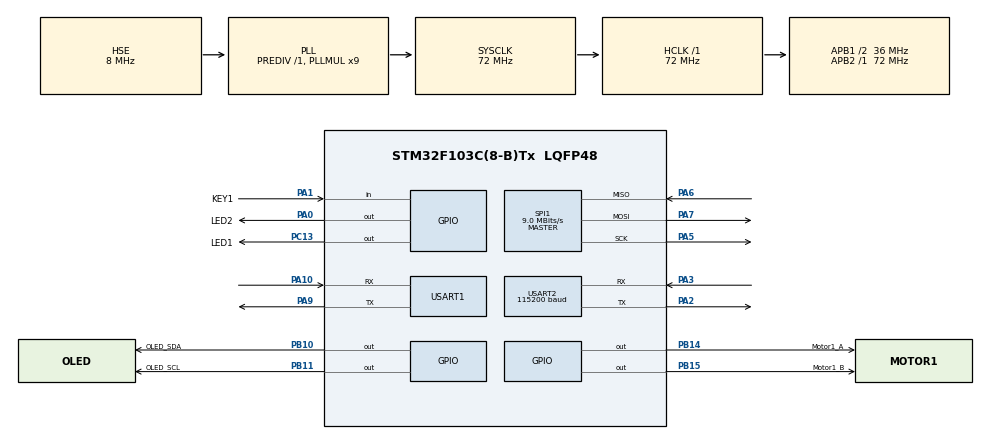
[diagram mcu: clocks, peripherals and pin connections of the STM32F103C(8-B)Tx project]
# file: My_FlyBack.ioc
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Dma.Request0=USART2_RX
Dma.Request1=USART2_TX
Dma.Request2=USART1_TX
Dma.Request3=SPI1_TX
Dma.SPI1_TX.3.Direction=DMA_MEMORY_TO_PERIPH
Dma.SPI1_TX.3.Instance=DMA1_Channel3
Dma.SPI1_TX.3.MemDataAlignment=DMA_MDATAALIGN_BYTE
Dma.SPI1_TX.3.MemInc=DMA_MINC_ENABLE
Dma.SPI1_TX.3.Mode=DMA_NORMAL
Dma.SPI1_TX.3.PeriphDataAlignment=DMA_PDATAALIGN_BYTE
Dma.SPI1_TX.3.PeriphInc=DMA_PINC_DISABLE
Dma.SPI1_TX.3.Priority=DMA_PRIORITY_VERY_HIGH
Dma.USART1_TX.2.Direction=DMA_MEMORY_TO_PERIPH
Dma.USART1_TX.2.Instance=DMA1_Channel4
Dma.USART1_TX.2.MemDataAlignment=DMA_MDATAALIGN_BYTE
Dma.USART1_TX.2.MemInc=DMA_MINC_ENABLE
Dma.USART1_TX.2.Mode=DMA_NORMAL
Dma.USART1_TX.2.PeriphDataAlignment=DMA_PDATAALIGN_BYTE
Dma.USART1_TX.2.PeriphInc=DMA_PINC_DISABLE
Dma.USART1_TX.2.Priority=DMA_PRIORITY_LOW
Dma.USART2_RX.0.Direction=DMA_PERIPH_TO_MEMORY
Dma.USART2_RX.0.Instance=DMA1_Channel6
Dma.USART2_RX.0.MemDataAlignment=DMA_MDATAALIGN_BYTE
Dma.USART2_RX.0.MemInc=DMA_MINC_ENABLE
Dma.USART2_RX.0.Mode=DMA_CIRCULAR
Dma.USART2_RX.0.PeriphDataAlignment=DMA_PDATAALIGN_BYTE
Dma.USART2_RX.0.PeriphInc=DMA_PINC_DISABLE
Dma.USART2_RX.0.Priority=DMA_PRIORITY_HIGH
Dma.USART2_TX.1.Direction=DMA_MEMORY_TO_PERIPH
Dma.USART2_TX.1.Instance=DMA1_Channel7
Dma.USART2_TX.1.MemDataAlignment=DMA_MDATAALIGN_BYTE
Dma.USART2_TX.1.MemInc=DMA_MINC_ENABLE
Dma.USART2_TX.1.Mode=DMA_NORMAL
Dma.USART2_TX.1.PeriphDataAlignment=DMA_PDATAALIGN_BYTE
Dma.USART2_TX.1.PeriphInc=DMA_PINC_DISABLE
Dma.USART2_TX.1.Priority=DMA_PRIORITY_LOW
FREERTOS.Tasks01=defaultTask,0,128,StartDefaultTask,Default,NULL,Dynamic,NULL,NULL;myTask02,-3,128,StartTask02,Default,NULL,Dynamic,NULL,NULL
Mcu.Family=STM32F1
Mcu.Name=STM32F103C(8-B)Tx
Mcu.Package=LQFP48
NVIC.DMA1_Channel3_IRQn=true\:5\:0\:false\:false\:true\:true\:false\:true\:true
NVIC.DMA1_Channel4_IRQn=true\:5\:0\:false\:false\:true\:true\:false\:true\:true
NVIC.DMA1_Channel6_IRQn=true\:5\:0\:false\:false\:true\:true\:false\:true\:true
NVIC.DMA1_Channel7_IRQn=true\:5\:0\:false\:false\:true\:true\:false\:true\:true
NVIC.PriorityGroup=NVIC_PRIORITYGROUP_4
NVIC.TIM2_IRQn=true\:6\:0\:true\:false\:true\:true\:true\:true\:true
NVIC.TIM3_IRQn=true\:7\:0\:true\:false\:true\:true\:true\:true\:true
NVIC.USART1_IRQn=true\:15\:0\:true\:false\:true\:true\:true\:true\:true
NVIC.USART2_IRQn=true\:5\:0\:false\:false\:true\:true\:true\:true\:true
PA0-WKUP.GPIO_Label=LED2
PA0-WKUP.GPIO_PuPd=GPIO_NOPULL
PA0-WKUP.GPIO_Speed=GPIO_SPEED_FREQ_HIGH
PA0-WKUP.PinState=GPIO_PIN_RESET
PA0-WKUP.Signal=GPIO_Output
PA1.GPIO_Label=KEY1
PA1.GPIO_PuPd=GPIO_PULLUP
PA1.Signal=GPIO_Input
PA10.Mode=Asynchronous
PA10.Signal=USART1_RX
PA13.Mode=Serial_Wire
PA13.Signal=SYS_JTMS-SWDIO
PA14.Mode=Serial_Wire
PA14.Signal=SYS_JTCK-SWCLK
PA2.Mode=Asynchronous
PA2.Signal=USART2_TX
PA3.Mode=Asynchronous
PA3.Signal=USART2_RX
PA5.Mode=Full_Duplex_Master
PA5.Signal=SPI1_SCK
PA6.Mode=Full_Duplex_Master
PA6.Signal=SPI1_MISO
PA7.Mode=Full_Duplex_Master
PA7.Signal=SPI1_MOSI
PA9.Mode=Asynchronous
PA9.Signal=USART1_TX
PB10.GPIO_Label=OLED_SDA
PB10.GPIO_ModeDefaultOutputPP=GPIO_MODE_OUTPUT_OD
PB10.GPIO_PuPd=GPIO_PULLUP
PB10.GPIO_Speed=GPIO_SPEED_FREQ_HIGH
PB10.PinState=GPIO_PIN_SET
PB10.Signal=GPIO_Output
PB11.GPIO_Label=OLED_SCL
PB11.GPIO_Speed=GPIO_SPEED_FREQ_HIGH
PB11.Signal=GPIO_Output
PB14.GPIO_Label=Motor1_A
PB14.Signal=GPIO_Output
PB15.GPIO_Label=Motor1_B
PB15.Signal=GPIO_Output
PC13-TAMPER-RTC.GPIO_Label=LED1
PC13-TAMPER-RTC.Signal=GPIO_Output
PD0-OSC_IN.Mode=HSE-External-Oscillator
PD0-OSC_IN.Signal=RCC_OSC_IN
PD1-OSC_OUT.Mode=HSE-External-Oscillator
PD1-OSC_OUT.Signal=RCC_OSC_OUT
ProjectManager.HeapSize=0x200
ProjectManager.StackSize=0x400
ProjectManager.TargetToolchain=SW4STM32
RCC.AHBFreq_Value=72000000
RCC.APB1CLKDivider=RCC_HCLK_DIV2
RCC.APB1Freq_Value=36000000
RCC.APB1TimFreq_Value=72000000
RCC.APB2Freq_Value=72000000
RCC.APB2TimFreq_Value=72000000
RCC.HCLKFreq_Value=72000000
RCC.PLLMUL=RCC_PLL_MUL9
RCC.PLLSourceVirtual=RCC_PLLSOURCE_HSE
RCC.SYSCLKFreq_VALUE=72000000
RCC.SYSCLKSource=RCC_SYSCLKSOURCE_PLLCLK
RCC.USBFreq_Value=72000000
SPI1.BaudRatePrescaler=SPI_BAUDRATEPRESCALER_8
SPI1.CRCCalculation=SPI_CRCCALCULATION_DISABLE
SPI1.CalculateBaudRate=9.0 MBits/s
SPI1.Direction=SPI_DIRECTION_2LINES
SPI1.Mode=SPI_MODE_MASTER
SPI1.VirtualType=VM_MASTER
TIM2.Period=1000 - 1
TIM2.Prescaler=720 - 1
TIM3.Period=100 - 1
TIM3.Prescaler=720 - 1
USART1.VirtualMode=VM_ASYNC
USART2.BaudRate=115200
USART2.VirtualMode=VM_ASYNC
VP_FREERTOS_VS_CMSIS_V1.Mode=CMSIS_V1
VP_TIM1_VS_ClockSourceINT.Mode=Internal
VP_TIM2_VS_ClockSourceINT.Mode=Internal
VP_TIM3_VS_ClockSourceINT.Mode=Internal
board=custom

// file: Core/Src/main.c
/* USER CODE BEGIN Header */
/**
  ******************************************************************************
  * @file           : main.c
  * @brief          : Main program body
  ******************************************************************************
  * @attention
  *
  * Copyright (c) 2023 STMicroelectronics.
  * All rights reserved.
  *
  * This software is licensed under terms that can be found in the LICENSE file
  * in the root directory of this software component.
  * If no LICENSE file comes with this software, it is provided AS-IS.
  *
  ******************************************************************************
  */
/* USER CODE END Header */
#include "main.h"
#include "cmsis_os.h"
#include "dma.h"
#include "spi.h"
#include "tim.h"
#include "usart.h"
#include "gpio.h"

/* USER CODE BEGIN Includes */
#include "string.h"
#include "retarget.h"
#include "Motor.h"
#include "Uart_RxPackage.h"
#include "OLED.h"
#include "Delay.h"
#include "LED_Ribbon.h"
#include "RGBColor.h"
#include "MyKey.h"
/* USER CODE END Includes */

void SystemClock_Config(void);
void MX_FREERTOS_Init(void);

/* USER CODE BEGIN 0 */
UartRx_Package Uart2_Package;
/* USER CODE END 0 */

int main(void)
{

  /* MCU Configuration--------------------------------------------------------*/

  /* Reset of all peripherals, Initializes the Flash interface and the Systick. */
  HAL_Init();

  /* USER CODE BEGIN Init */
    RetargetInit(&huart1); //重定向串口一
  /* USER CODE END Init */

  /* Configure the system clock */
  SystemClock_Config();

  /* Initialize all configured peripherals */
  MX_GPIO_Init();
  MX_DMA_Init();
  MX_TIM1_Init();
  MX_TIM2_Init();
  MX_TIM3_Init();
  MX_USART1_UART_Init();
  MX_USART2_UART_Init();
  MX_SPI1_Init();

  /* Call init function for freertos objects (in freertos.c) */
  MX_FREERTOS_Init();

  /* Start scheduler */
  osKernelStart();

  /* We should never get here as control is now taken by the scheduler */
  /* Infinite loop */
  while (1)
  {

    /* USER CODE BEGIN 3 */
//      LED_RibALLLight(0xFF, 0, 0);
//      Delay_ms(500);
//
//      LED_RibALLLight(0,0xFF,0);
//      Delay_ms(500);
//
//      LED_RibALLLight(0,0,0xFF);
//      Delay_ms(500);
//
//      LED_RibALLLight(VioletColor);
//      Delay_ms(500);
//
//      LED_RibALLLight(CyanColor);
//      Delay_ms(500);
//
//      LED_RibALLLight(IndigoColor);
//      Delay_ms(500);
//
//      LED_RibALLLight(DarkGreenColor);
//      Delay_ms(500);
//
//      LED_RibALLLight(KhakiColor);
//      Delay_ms(500);

  }
  /* USER CODE END 3 */
}

void SystemClock_Config(void)
{
  RCC_OscInitTypeDef RCC_OscInitStruct = {0};
  RCC_ClkInitTypeDef RCC_ClkInitStruct = {0};

  /** Initializes the RCC Oscillators according to the specified parameters
  * in the RCC_OscInitTypeDef structure.
  */
  RCC_OscInitStruct.OscillatorType = RCC_OSCILLATORTYPE_HSE;
  RCC_OscInitStruct.HSEState = RCC_HSE_ON;
  RCC_OscInitStruct.HSEPredivValue = RCC_HSE_PREDIV_DIV1;
  RCC_OscInitStruct.HSIState = RCC_HSI_ON;
  RCC_OscInitStruct.PLL.PLLState = RCC_PLL_ON;
  RCC_OscInitStruct.PLL.PLLSource = RCC_PLLSOURCE_HSE;
  RCC_OscInitStruct.PLL.PLLMUL = RCC_PLL_MUL9;
  if (HAL_RCC_OscConfig(&RCC_OscInitStruct) != HAL_OK)
  {
    Error_Handler();
  }

  /** Initializes the CPU, AHB and APB buses clocks
  */
  RCC_ClkInitStruct.ClockType = RCC_CLOCKTYPE_HCLK|RCC_CLOCKTYPE_SYSCLK
                              |RCC_CLOCKTYPE_PCLK1|RCC_CLOCKTYPE_PCLK2;
  RCC_ClkInitStruct.SYSCLKSource = RCC_SYSCLKSOURCE_PLLCLK;
  RCC_ClkInitStruct.AHBCLKDivider = RCC_SYSCLK_DIV1;
  RCC_ClkInitStruct.APB1CLKDivider = RCC_HCLK_DIV2;
  RCC_ClkInitStruct.APB2CLKDivider = RCC_HCLK_DIV1;

  if (HAL_RCC_ClockConfig(&RCC_ClkInitStruct, FLASH_LATENCY_2) != HAL_OK)
  {
    Error_Handler();
  }
}

void Error_Handler(void)
{
  __disable_irq();
  while (1)
  {
  }
}

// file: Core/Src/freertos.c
/* USER CODE BEGIN Header */
/**
  ******************************************************************************
  * File Name          : freertos.c
  * Description        : Code for freertos applications
  ******************************************************************************
  * @attention
  *
  * Copyright (c) 2024 STMicroelectronics.
  * All rights reserved.
  *
  * This software is licensed under terms that can be found in the LICENSE file
  * in the root directory of this software component.
  * If no LICENSE file comes with this software, it is provided AS-IS.
  *
  ******************************************************************************
  */
/* USER CODE END Header */

#include "FreeRTOS.h"
#include "task.h"
#include "main.h"
#include "cmsis_os.h"

/* USER CODE BEGIN Includes */
#include "string.h"
#include "retarget.h"
#include "Motor.h"
#include "Uart_RxPackage.h"
#include "OLED.h"
#include "Delay.h"
#include "LED_Ribbon.h"
#include "RGBColor.h"
#include "usart.h"
#include "MyKey.h"
#include "ESP32_MQTT.h"
/* USER CODE END Includes */

/* USER CODE BEGIN Variables */
uint8_t ESPSubscribeFlag = 0;
char  *JSONData = NULL;
int JSONLength = 0;

/* USER CODE END Variables */
osThreadId defaultTaskHandle;
osThreadId myTask02Handle;

void StartDefaultTask(void const * argument);
void StartTask02(void const * argument);

void MX_FREERTOS_Init(void); /* (MISRA C 2004 rule 8.1) */

/* GetIdleTaskMemory prototype (linked to static allocation support) */
void vApplicationGetIdleTaskMemory( StaticTask_t **ppxIdleTaskTCBBuffer, StackType_t **ppxIdleTaskStackBuffer, uint32_t *pulIdleTaskStackSize );

/* USER CODE BEGIN GET_IDLE_TASK_MEMORY */
static StaticTask_t xIdleTaskTCBBuffer;
static StackType_t xIdleStack[configMINIMAL_STACK_SIZE];

void vApplicationGetIdleTaskMemory( StaticTask_t **ppxIdleTaskTCBBuffer, StackType_t **ppxIdleTaskStackBuffer, uint32_t *pulIdleTaskStackSize )
{
  *ppxIdleTaskTCBBuffer = &xIdleTaskTCBBuffer;
  *ppxIdleTaskStackBuffer = &xIdleStack[0];
  *pulIdleTaskStackSize = configMINIMAL_STACK_SIZE;
  /* place for user code */
}
/* USER CODE END GET_IDLE_TASK_MEMORY */

void MX_FREERTOS_Init(void) {
  /* USER CODE BEGIN Init */
    HAL_TIM_Base_Start_IT(&htim2);
    HAL_TIM_Base_Start_IT(&htim3);
    Uart_RxPackage_Init(&Uart2_Package,&htim2,300,&huart2); //初始化串口接收数�??
    Uart_PackageStart(&Uart2_Package);
    OLED_Init();

    LED_RibInit();
    KeyInit();

    HAL_Delay(1000);
    ESPMQTT_Start();
    HAL_Delay(1000);

    if(ESP32Subscribe(Uart2_Package) == ESPSuccess)ESPSubscribeFlag = 1;
    OLED_ShowString(4,1,"MQTTSubscribeSus");
    /* USER CODE END Init */

  /* Create the thread(s) */
  /* definition and creation of defaultTask */
  osThreadDef(defaultTask, StartDefaultTask, osPriorityNormal, 0, 128*4);
  defaultTaskHandle = osThreadCreate(osThread(defaultTask), NULL);

  /* definition and creation of myTask02 */
  osThreadDef(myTask02, StartTask02, osPriorityIdle, 0, 128);
  myTask02Handle = osThreadCreate(osThread(myTask02), NULL);

}

void StartDefaultTask(void const * argument)
{
  /* USER CODE BEGIN StartDefaultTask */
    OLED_ShowString(1,1,"   LEDRibbon");
    OLED_ShowString(2,1,"Mode:");
    //OLED_ShowString(4,1,"TouchNum:");
    /* Infinite loop */
  for(;;)
  {
      //OLED_ShowNum(3,1,temp,5);
      switch(hLedRib.RuningMode)
      {
          //0.默认全黑
          case DefaultMode:
          {
              hLedRib.LightAllLEDFun(0x00,0x00,0x00); //黑色
              OLED_ShowString(2,6,"Default    ");
          }break;
          //1.随机亮灯模式
          case RandomLightMode:
          {
              hLedRib.RandomLED.RandomLightFun();
              OLED_ShowString(2,6,"Random     ");
          }break;

          //2.回到起始点的流水灯
          case WaterFallBack2Start:
          {
              hLedRib.WaterFallLED.WaterFallLightFun(BackToStart);
              OLED_ShowString(2,6,"WFB2S      ");
          }break;

          //3.反弹的流水灯
          case WaterFallRebound:
          {
              hLedRib.WaterFallLED.WaterFallLightFun(Rebound);
              OLED_ShowString(2,6,"WFRebound  ");
          }break;

          //默认模式
          default:hLedRib.LightAllLEDFun(0x00,0x00,0x00); //黑色
      }

      if(Uart2_Package.RxEndFalg == 1 && ESPSubscribeFlag == 1) //说明串口中断接收结束
      {
          /**阿里云平台下发数据到ESP再到STM32，阿里云平台无法确定数据是否正确发放，所以需要下位机把接收到的数据发布回给阿里云平台。
           阿里云平台接收到发布回来的数据后，会回一串数据和万恶的“OK”**/
          printf("ReceiveOK!\r\n");
          ESP32ReceiveMsgJSONParse(&Uart2_Package,&JSONData,&JSONLength);
         // JSONALLTask(JSONData,JSONLength);
         // JSONBreathLEDTask(JSONData,JSONLength);
          JSONLEDRibTask(JSONData,JSONLength);
          Uart_DoTask(&Uart2_Package);
      }
      osDelay(10);

  }
  /* USER CODE END StartDefaultTask */
}

void StartTask02(void const * argument)
{
  /* USER CODE BEGIN StartTask02 */
    OLED_ShowString(3,1,"KeyNum:");
    /* Infinite loop */
  for(;;)
  {
      //hKey.KeyReadFun();
      PressKey2DoTask();
      OLED_ShowNum(3,8,hKey.KeyPressNum,1);
      osDelay(20);
  }
  /* USER CODE END StartTask02 */
}
